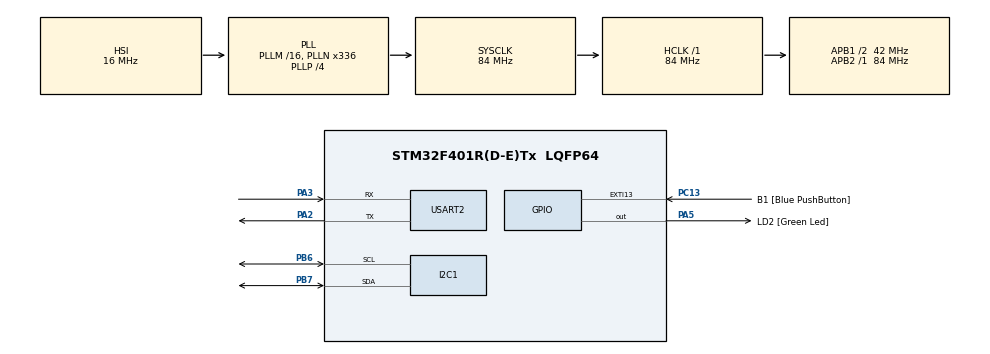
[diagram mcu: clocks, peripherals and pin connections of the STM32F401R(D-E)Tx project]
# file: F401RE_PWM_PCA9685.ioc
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Mcu.Family=STM32F4
Mcu.Name=STM32F401R(D-E)Tx
Mcu.Package=LQFP64
NVIC.PriorityGroup=NVIC_PRIORITYGROUP_0
PA13.GPIO_Label=TMS
PA13.Mode=Serial_Wire
PA13.Signal=SYS_JTMS-SWDIO
PA14.GPIO_Label=TCK
PA14.Mode=Serial_Wire
PA14.Signal=SYS_JTCK-SWCLK
PA2.Mode=Asynchronous
PA2.Signal=USART2_TX
PA3.Mode=Asynchronous
PA3.Signal=USART2_RX
PA5.GPIO_Label=LD2 [Green Led]
PA5.GPIO_Mode=GPIO_MODE_OUTPUT_PP
PA5.GPIO_PuPd=GPIO_NOPULL
PA5.GPIO_Speed=GPIO_SPEED_FREQ_LOW
PA5.Signal=GPIO_Output
PB3.GPIO_Label=SWO
PB3.Signal=SYS_JTDO-SWO
PB6.Mode=I2C
PB6.Signal=I2C1_SCL
PB7.Mode=I2C
PB7.Signal=I2C1_SDA
PC13-ANTI_TAMP.GPIO_Label=B1 [Blue PushButton]
PC13-ANTI_TAMP.GPIO_ModeDefaultEXTI=GPIO_MODE_IT_FALLING
PC13-ANTI_TAMP.GPIO_PuPd=GPIO_NOPULL
PC13-ANTI_TAMP.Signal=GPXTI13
PC14-OSC32_IN.Mode=LSE-External-Oscillator
PC14-OSC32_IN.Signal=RCC_OSC32_IN
PC15-OSC32_OUT.Mode=LSE-External-Oscillator
PC15-OSC32_OUT.Signal=RCC_OSC32_OUT
PH0\ -\ OSC_IN.Mode=HSE-External-Clock-Source
PH0\ -\ OSC_IN.Signal=RCC_OSC_IN
PH1\ -\ OSC_OUT.Mode=HSE-External-Clock-Source
PH1\ -\ OSC_OUT.Signal=RCC_OSC_OUT
ProjectManager.HeapSize=0x200
ProjectManager.StackSize=0x400
ProjectManager.TargetToolchain=STM32CubeIDE
RCC.48MHZClocksFreq_Value=48000000
RCC.AHBFreq_Value=84000000
RCC.APB1CLKDivider=RCC_HCLK_DIV2
RCC.APB1Freq_Value=42000000
RCC.APB1TimFreq_Value=84000000
RCC.APB2Freq_Value=84000000
RCC.APB2TimFreq_Value=84000000
RCC.CortexFreq_Value=84000000
RCC.HCLKFreq_Value=84000000
RCC.HSE_VALUE=8000000
RCC.HSI_VALUE=16000000
RCC.PLLN=336
RCC.PLLP=RCC_PLLP_DIV4
RCC.PLLQ=7
RCC.SYSCLKFreq_VALUE=84000000
RCC.SYSCLKSource=RCC_SYSCLKSOURCE_PLLCLK
RCC.VCOOutputFreq_Value=336000000
USART2.VirtualMode=VM_ASYNC
board=NUCLEO-F401RE

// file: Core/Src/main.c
/* USER CODE BEGIN Header */
/**
  ******************************************************************************
  * @file           : main.c
  * @brief          : Main program body
  ******************************************************************************
  * @attention
  *
  * Copyright (c) 2023 STMicroelectronics.
  * All rights reserved.
  *
  * This software is licensed under terms that can be found in the LICENSE file
  * in the root directory of this software component.
  * If no LICENSE file comes with this software, it is provided AS-IS.
  *
  ******************************************************************************
  */
/* USER CODE END Header */
#include "main.h"
#include "i2c.h"
#include "usart.h"
#include "gpio.h"

/* USER CODE BEGIN PD */
#define SERVO_COUNT	5
/* USER CODE END PD */

/* USER CODE BEGIN PV */
	uint8_t ActiveServo;
/* USER CODE END PV */

void SystemClock_Config(void);

int main(void)
{

  /* MCU Configuration--------------------------------------------------------*/

  /* Reset of all peripherals, Initializes the Flash interface and the Systick. */
  HAL_Init();

  /* Configure the system clock */
  SystemClock_Config();

  /* Initialize all configured peripherals */
  MX_GPIO_Init();
  MX_USART2_UART_Init();
  MX_I2C1_Init();
  /* USER CODE BEGIN 2 */
  PCA9685_Init(&hi2c1);
  PCA9685_SetServoAngle(0, 0);
  PCA9685_SetServoAngle(1, 0);
  PCA9685_SetServoAngle(2, 0);
  PCA9685_SetServoAngle(3, 0);
  PCA9685_SetServoAngle(4, 0);

  HAL_Delay(2000);
  /* USER CODE END 2 */

  /* Infinite loop */
  /* USER CODE BEGIN WHILE */
  while (1)
  {
	  for (uint8_t Angle = 0; Angle < 180; Angle++) {
		  PCA9685_SetServoAngle(0, Angle);
	    }
	  HAL_Delay(500);
	  for (uint16_t Angle = 180; Angle > 0; Angle--) {
		  PCA9685_SetServoAngle(0, Angle);
	  }
	  HAL_Delay(500);
	  ActiveServo++;
	  if (ActiveServo >= SERVO_COUNT) ActiveServo = 0;
    /* USER CODE END WHILE */

  }
}

void SystemClock_Config(void)
{
  RCC_OscInitTypeDef RCC_OscInitStruct = {0};
  RCC_ClkInitTypeDef RCC_ClkInitStruct = {0};

  /** Configure the main internal regulator output voltage
  */
  __HAL_RCC_PWR_CLK_ENABLE();
  __HAL_PWR_VOLTAGESCALING_CONFIG(PWR_REGULATOR_VOLTAGE_SCALE2);

  /** Initializes the RCC Oscillators according to the specified parameters
  * in the RCC_OscInitTypeDef structure.
  */
  RCC_OscInitStruct.OscillatorType = RCC_OSCILLATORTYPE_HSI;
  RCC_OscInitStruct.HSIState = RCC_HSI_ON;
  RCC_OscInitStruct.HSICalibrationValue = RCC_HSICALIBRATION_DEFAULT;
  RCC_OscInitStruct.PLL.PLLState = RCC_PLL_ON;
  RCC_OscInitStruct.PLL.PLLSource = RCC_PLLSOURCE_HSI;
  RCC_OscInitStruct.PLL.PLLM = 16;
  RCC_OscInitStruct.PLL.PLLN = 336;
  RCC_OscInitStruct.PLL.PLLP = RCC_PLLP_DIV4;
  RCC_OscInitStruct.PLL.PLLQ = 7;
  if (HAL_RCC_OscConfig(&RCC_OscInitStruct) != HAL_OK)
  {
    Error_Handler();
  }

  /** Initializes the CPU, AHB and APB buses clocks
  */
  RCC_ClkInitStruct.ClockType = RCC_CLOCKTYPE_HCLK|RCC_CLOCKTYPE_SYSCLK
                              |RCC_CLOCKTYPE_PCLK1|RCC_CLOCKTYPE_PCLK2;
  RCC_ClkInitStruct.SYSCLKSource = RCC_SYSCLKSOURCE_PLLCLK;
  RCC_ClkInitStruct.AHBCLKDivider = RCC_SYSCLK_DIV1;
  RCC_ClkInitStruct.APB1CLKDivider = RCC_HCLK_DIV2;
  RCC_ClkInitStruct.APB2CLKDivider = RCC_HCLK_DIV1;

  if (HAL_RCC_ClockConfig(&RCC_ClkInitStruct, FLASH_LATENCY_2) != HAL_OK)
  {
    Error_Handler();
  }
}

void Error_Handler(void)
{
  __disable_irq();
  while (1)
  {
  }
}
